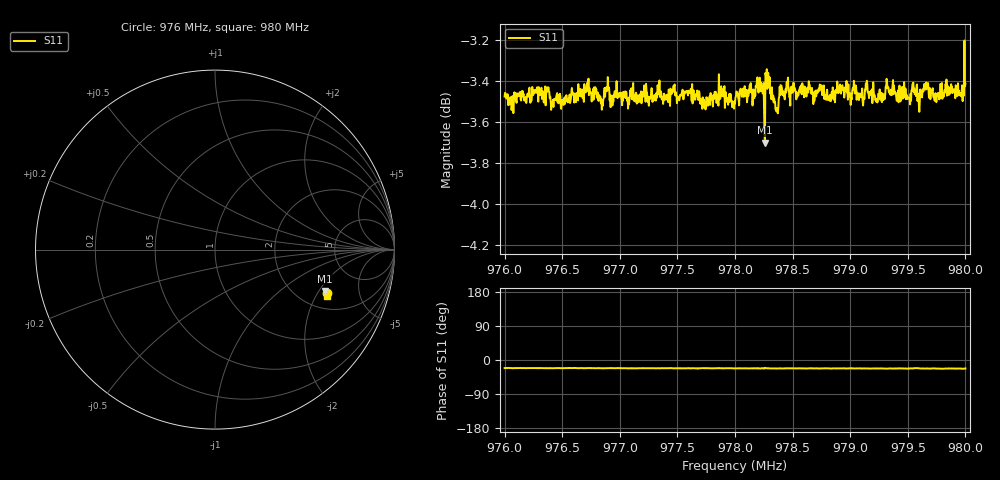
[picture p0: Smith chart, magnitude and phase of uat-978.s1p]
! Calibrated averaged scanner-service zoom
# Hz S RI R 50
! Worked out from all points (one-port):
!   1001 points, 976 MHz to 980 MHz, reference 50 ohm
!   lowest |S11| = -3.7 dB at 978.26 MHz (marker M1), VSWR 4.76, Z = 140 - j113 ohm
!   |S11| at or under -10 dB: nowhere
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9.76e8  0.6242 -0.2439
9.765e8  0.6225 -0.2449
9.76712e8  0.6257 -0.2484
9.77e8  0.6234 -0.2459
9.775e8  0.6211 -0.2503
9.77668e8  0.6211 -0.2526
9.77732e8  0.622 -0.2464
9.78e8  0.6185 -0.2511
9.78204e8  0.6227 -0.2518
9.7826e8  0.6112 -0.2301
9.78284e8  0.6301 -0.2517
9.78356e8  0.6154 -0.2536
9.785e8  0.6229 -0.2536
9.78736e8  0.6242 -0.2561
9.78792e8  0.6197 -0.2517
9.78884e8  0.6223 -0.2536
9.79e8  0.6242 -0.2474
9.79316e8  0.6246 -0.2608
9.7944e8  0.6205 -0.2529
9.795e8  0.6188 -0.2564
9.7958e8  0.6294 -0.2431
9.79624e8  0.6195 -0.2548
9.79672e8  0.6215 -0.2598
9.7972e8  0.6207 -0.2529
9.798e8  0.616 -0.2618
9.79852e8  0.6209 -0.256
9.79968e8  0.6191 -0.2626
9.8e8  0.6239 -0.2575
